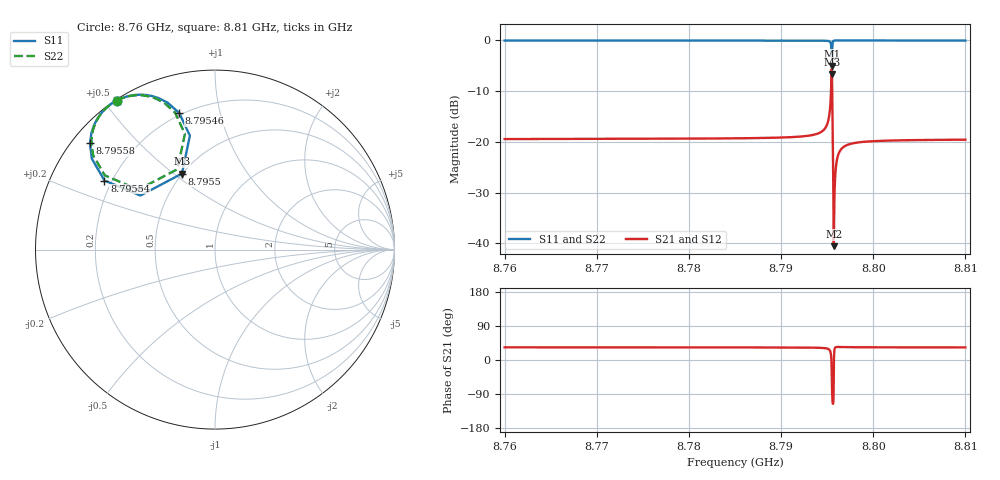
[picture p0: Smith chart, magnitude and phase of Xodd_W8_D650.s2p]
! Sonnet Data File
! From: emgraph Version : 16.52
! From Project: Qubit_Xmon2_brg
! Data is De-embedded
! Data File Written: 10/25/2017 15:28:40
!< HDATE 10/25/2017 13:50:25
!< MDATE 10/25/2017 13:50:25
!< PARAMS
!< Lj = 11.0
!< Gap = 6.0
!< Pwid = 2000.0
!< Airgap = 6.0
!< Width = 10.0
!< Bwid = 8.0
!< Dis1 = 650.0
!< Dis2 = 656.0
!< END PARAMS
# GHZ S MA R 34.70000
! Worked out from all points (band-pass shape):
!   2501 points, 8.76 GHz to 8.81 GHz, reference 34.7 ohm
!   highest |S21| = -5.16 dB at 8.7955 GHz (marker M1); lowest = -40.6 dB at 8.79572 GHz (marker M2)
!   |S21| within 3 dB of the highest: 8.79545 GHz to 8.795537 GHz (87.45 kHz wide, 0.000994 % of centre)
!   lowest |S11| = -6.7 dB at 8.7955 GHz (marker M3), VSWR 2.72, Z = 17.3 + j18.6 ohm
!   |S11| at or under -10 dB: nowhere
!   |S22| runs from -6.1 to 0.0 dB; largest |S21 - S12| = 0
!   S11 on the Smith chart (normalised r, x): 8.76 GHz: 0.00, +0.54; 8.79546 GHz: 0.19, +0.75; 8.7955 GHz: 0.50, +0.54; 8.79554 GHz: 0.17, +0.28; 8.79558 GHz: 0.05, +0.37; 8.81 GHz: 0.00, +0.54
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8.76  0.9943 123.4  0.1063 33.4  0.1063 33.4  0.9943 123.5
!< P1 F=8.76 Eeff=(5.13726025 -5.6937e-5) Z0=(34.6466742 -9.6556e-5) R=0.0 C=0.0
!< P2 F=8.76 Eeff=(5.13726025 -5.6937e-5) Z0=(34.6466742 -9.6556e-5) R=0.0 C=0.0
8.76834  0.9943 123.3  0.1066 33.4  0.1066 33.4  0.9943 123.4
8.77668  0.9942 123.3  0.1071 33.3  0.1071 33.3  0.9942 123.3
8.785  0.9941 123.2  0.1082 33.2  0.1082 33.2  0.9941 123.2
8.79334  0.9931 122.6  0.1163 32.6  0.1163 32.6  0.9931 122.7
8.79482  0.9896 121.3  0.1377 31.1  0.1377 31.1  0.9896 121.5
8.7952  0.9801 119.1  0.1754 27.9  0.1754 27.9  0.9804 119.4
8.79534  0.9593 115.9  0.2287 22.7  0.2287 22.7  0.9602 116.4
8.7954  0.9256 112.4  0.2866 16.4  0.2866 16.4  0.9278 113.2
8.79546  0.7867 104.7  0.4231 -1.5  0.4231 -1.5  0.7949 106.2
8.7955  0.4618 113.5  0.552 -37.7  0.552 -37.7  0.4942 115.2
8.79554  0.726 148.0  0.3745 -87.1  0.3745 -87.1  0.7406 146.1
8.79558  0.9154 139.5  0.1811 -108.9  0.1811 -108.9  0.92 138.5
8.79572  0.9907 129.4  0.009367 -34.5  0.009367 -34.5  0.9913 129.0
8.7958  0.9946 127.7  0.03112 28.8  0.03112 28.8  0.9949 127.5
8.79588  0.9958 126.7  0.04704 33.1  0.04704 33.1  0.996 126.5
8.79594  0.9962 126.2  0.05523 33.9  0.05523 33.9  0.9964 126.1
8.79604  0.9964 125.7  0.06482 34.3  0.06482 34.3  0.9965 125.6
8.79618  0.9964 125.2  0.07347 34.4  0.07347 34.4  0.9964 125.1
8.79678  0.9958 124.2  0.08897 34.1  0.08897 34.1  0.9958 124.2
8.80168  0.9947 123.4  0.1028 33.4  0.1028 33.4  0.9947 123.4
8.81  0.9945 123.2  0.1049 33.2  0.1049 33.2  0.9945 123.2
